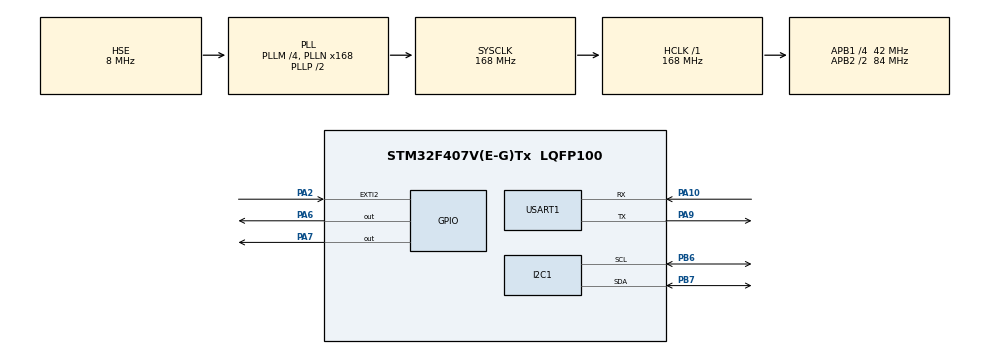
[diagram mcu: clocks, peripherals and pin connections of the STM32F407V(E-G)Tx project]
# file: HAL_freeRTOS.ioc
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FREERTOS.Events01=Event_TOFsync,Dynamic,NULL
FREERTOS.Mutexes01=I2C_Mutex,Dynamic,NULL,Available
FREERTOS.Tasks01=Task_TOF_X,24,128,taskTOF_X,Default,NULL,Dynamic,NULL,NULL;Task_TOF_Y,24,128,taskTOF_Y,Default,NULL,Dynamic,NULL,NULL;Task_TOF_Z,24,256,taskTOF_Z,Default,NULL,Dynamic,NULL,NULL;Task_USART_Prin,40,256,taskUSART_Print,Default,NULL,Dynamic,NULL,NULL;Task_LED_Toggle,8,128,taskLED_Toggle,Default,NULL,Dynamic,NULL,NULL
Mcu.Family=STM32F4
Mcu.Name=STM32F407V(E-G)Tx
Mcu.Package=LQFP100
NVIC.EXTI2_IRQn=true\:6\:0\:true\:false\:true\:true\:true\:true\:true
NVIC.PriorityGroup=NVIC_PRIORITYGROUP_4
NVIC.TIM2_IRQn=true\:5\:0\:true\:false\:true\:true\:true\:true\:true
NVIC.TIM6_DAC_IRQn=true\:0\:0\:true\:false\:true\:false\:false\:true\:true
NVIC.TimeBase=TIM6_DAC_IRQn
NVIC.TimeBaseIP=TIM6
PA10.Mode=Asynchronous
PA10.Signal=USART1_RX
PA13.Mode=Serial_Wire
PA13.Signal=SYS_JTMS-SWDIO
PA14.Mode=Serial_Wire
PA14.Signal=SYS_JTCK-SWCLK
PA2.Signal=GPXTI2
PA6.PinState=GPIO_PIN_SET
PA6.Signal=GPIO_Output
PA7.PinState=GPIO_PIN_SET
PA7.Signal=GPIO_Output
PA9.Mode=Asynchronous
PA9.Signal=USART1_TX
PB6.Mode=I2C
PB6.Signal=I2C1_SCL
PB7.Mode=I2C
PB7.Signal=I2C1_SDA
PH0-OSC_IN.Mode=HSE-External-Oscillator
PH0-OSC_IN.Signal=RCC_OSC_IN
PH1-OSC_OUT.Mode=HSE-External-Oscillator
PH1-OSC_OUT.Signal=RCC_OSC_OUT
ProjectManager.HeapSize=0x200
ProjectManager.StackSize=0x400
ProjectManager.TargetToolchain=MDK-ARM V5.32
RCC.48MHZClocksFreq_Value=84000000
RCC.AHBFreq_Value=168000000
RCC.APB1CLKDivider=RCC_HCLK_DIV4
RCC.APB1Freq_Value=42000000
RCC.APB1TimFreq_Value=84000000
RCC.APB2CLKDivider=RCC_HCLK_DIV2
RCC.APB2Freq_Value=84000000
RCC.APB2TimFreq_Value=168000000
RCC.CortexFreq_Value=168000000
RCC.HCLKFreq_Value=168000000
RCC.HSE_VALUE=8000000
RCC.HSI_VALUE=16000000
RCC.LSE_VALUE=32768
RCC.PLLM=4
RCC.PLLN=168
RCC.PLLSourceVirtual=RCC_PLLSOURCE_HSE
RCC.SYSCLKFreq_VALUE=168000000
RCC.SYSCLKSource=RCC_SYSCLKSOURCE_PLLCLK
RCC.VCOOutputFreq_Value=336000000
TIM2.Period=50-1
TIM2.Prescaler=8400-1
USART1.VirtualMode=VM_ASYNC
VP_FREERTOS_VS_CMSIS_V2.Mode=CMSIS_V2
VP_SYS_VS_tim6.Mode=TIM6
VP_TIM2_VS_ClockSourceINT.Mode=Internal
board=custom

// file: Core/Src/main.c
/* USER CODE BEGIN Header */
/**
  ******************************************************************************
  * @file           : main.c
  * @brief          : Main program body
  ******************************************************************************
  * @attention
  *
  * Copyright (c) 2024 STMicroelectronics.
  * All rights reserved.
  *
  * This software is licensed under terms that can be found in the LICENSE file
  * in the root directory of this software component.
  * If no LICENSE file comes with this software, it is provided AS-IS.
  *
  ******************************************************************************
  */
/* USER CODE END Header */
#include "main.h"
#include "cmsis_os.h"
#include "i2c.h"
#include "tim.h"
#include "usart.h"
#include "gpio.h"

/* USER CODE BEGIN Includes */
#include "position.h"
/* USER CODE END Includes */

void SystemClock_Config(void);
void MX_FREERTOS_Init(void);
/* USER CODE BEGIN PFP */
/***************************************各类函数声明****************************************/

/* USER CODE END PFP */

/* USER CODE BEGIN 0 */
volatile Vector3 V3 = {0, 0, 0};
/* USER CODE END 0 */

int main(void)
{

  /* MCU Configuration--------------------------------------------------------*/

  /* Reset of all peripherals, Initializes the Flash interface and the Systick. */
  HAL_Init();

  /* Configure the system clock */
  SystemClock_Config();

  /* Initialize all configured peripherals */
  MX_GPIO_Init();
  MX_USART1_UART_Init();
  MX_I2C1_Init();
  MX_TIM2_Init();
  /* USER CODE BEGIN 2 */
	delay_init(168);
	XShut_PinInit();

	//相关函数的参数初始化
	LPF2_ParamSet(50, 8);
	Pos_Filter_Init();
	//初始化不同的IIC接口
  	SoftSim_IIC_Init();
	VL53L0X_i2c_init();

	//IMU初始化
	BMI088_InitFunc();
	MPU9250_DMP_InitFunc();
	VL53L0x_InitFunc();

	HAL_TIM_Base_Start_IT(&htim2);	//开启TIM2中断
	exti_GPIO_Init();				//MPU9250外部中断引脚初始化
	printf("ALL Peripheral Initial OK\r\n");

  /* USER CODE END 2 */

  /* Init scheduler */
  osKernelInitialize();

  /* Call init function for freertos objects (in cmsis_os2.c) */
  MX_FREERTOS_Init();

  /* Start scheduler */
  osKernelStart();

  /* We should never get here as control is now taken by the scheduler */

  /* Infinite loop */
	while (1)
	{

	}
}

void SystemClock_Config(void)
{
  RCC_OscInitTypeDef RCC_OscInitStruct = {0};
  RCC_ClkInitTypeDef RCC_ClkInitStruct = {0};

  /** Configure the main internal regulator output voltage
  */
  __HAL_RCC_PWR_CLK_ENABLE();
  __HAL_PWR_VOLTAGESCALING_CONFIG(PWR_REGULATOR_VOLTAGE_SCALE1);

  /** Initializes the RCC Oscillators according to the specified parameters
  * in the RCC_OscInitTypeDef structure.
  */
  RCC_OscInitStruct.OscillatorType = RCC_OSCILLATORTYPE_HSE;
  RCC_OscInitStruct.HSEState = RCC_HSE_ON;
  RCC_OscInitStruct.PLL.PLLState = RCC_PLL_ON;
  RCC_OscInitStruct.PLL.PLLSource = RCC_PLLSOURCE_HSE;
  RCC_OscInitStruct.PLL.PLLM = 4;
  RCC_OscInitStruct.PLL.PLLN = 168;
  RCC_OscInitStruct.PLL.PLLP = RCC_PLLP_DIV2;
  RCC_OscInitStruct.PLL.PLLQ = 4;
  if (HAL_RCC_OscConfig(&RCC_OscInitStruct) != HAL_OK)
  {
    Error_Handler();
  }

  /** Initializes the CPU, AHB and APB buses clocks
  */
  RCC_ClkInitStruct.ClockType = RCC_CLOCKTYPE_HCLK|RCC_CLOCKTYPE_SYSCLK
                              |RCC_CLOCKTYPE_PCLK1|RCC_CLOCKTYPE_PCLK2;
  RCC_ClkInitStruct.SYSCLKSource = RCC_SYSCLKSOURCE_PLLCLK;
  RCC_ClkInitStruct.AHBCLKDivider = RCC_SYSCLK_DIV1;
  RCC_ClkInitStruct.APB1CLKDivider = RCC_HCLK_DIV4;
  RCC_ClkInitStruct.APB2CLKDivider = RCC_HCLK_DIV2;

  if (HAL_RCC_ClockConfig(&RCC_ClkInitStruct, FLASH_LATENCY_5) != HAL_OK)
  {
    Error_Handler();
  }
}

/* USER CODE BEGIN 4 */

void HAL_GPIO_EXTI_Callback(uint16_t GPIO_Pin)
{
	static int exti_count = 0;
	if(GPIO_Pin == GPIO_PIN_2)
	{
		exti_count++;
		mpu_mpl_get_data(&Pitch_9AX,&Roll_9AX,&Yaw_9AX);
		if(exti_count >= 10)
		{
			printf("9Axis:%.2f,%.2f,%.2f\r\n",Pitch_9AX,Roll_9AX,Yaw_9AX);
			exti_count = 0;
		}
	}
}

/* USER CODE END 4 */

void HAL_TIM_PeriodElapsedCallback(TIM_HandleTypeDef *htim)
{
  /* USER CODE BEGIN Callback 0 */
	static int count_delay = 0;
	static int count = 0;
	static int count_prirnt = 0;

	#ifdef POSITION_CALC
		static float gyro_bias_z;
		static double gyro_ave_bias_z;
		static int count1;
		static char Yaw_turn = 0;
	#endif

	if(htim == &htim2)		//5ms定时中断
	{
		//等待一段时间，让陀螺仪数据稳定
		if(count_delay < 1000)
		{
			count_delay++;
			return;
		}

		//读取加速度计数据
		bmi08a_get_data(&user_accel_bmi088, &dev);

		//对加速度计数据进行窗口滤波
		ACC_XYZ_Window_Filter(&user_accel_bmi088);

		V3.x = user_accel_bmi088.x*A;
		V3.y = user_accel_bmi088.y*A;
		V3.z = user_accel_bmi088.z*A;

		//读取陀螺仪数据
		bmi08g_get_data(&user_gyro_bmi088, &dev);
		gyro_x = user_gyro_bmi088.x*B;
		gyro_y = user_gyro_bmi088.y*B;
		gyro_z = user_gyro_bmi088.z*B;

		#ifdef POSITION_CALC
			gyro_z1 = (double)gyro_z * R2D;

			//对陀螺仪z轴数据进行窗口滤波
			gyro_z1 = Single_Window_Filter(gyro_z1);

			//对陀螺仪数据进行二阶低通滤波
			gyro_z1 = LPF2_Calculate(gyro_z1);

			//对陀螺仪z轴数据进行零偏消除
			if(fabs(gyro_z1) < THRESHOLD)
			{
				count1++;
				gyro_bias_z += gyro_z1;
				if(count1 > 5)
				{
					gyro_ave_bias_z = gyro_bias_z/5;
					count1 = 0;
					gyro_bias_z = 0;
				}
				//gyro_z1 -= gyro_ave_bias_z*0.835;
			}
			gyro_z1 -= gyro_ave_bias_z*0.835;

			//去除零偏之后积分出角度
			Yaw += (double)gyro_z1*0.005;
			//将角度限制在±180度之间
			if(Yaw > 180)
			{
				Yaw -= 360;
				Yaw_turn++;	//可以记录转过的圈数
			}
			else if(Yaw < -180)
			{
				Yaw += 360;
				Yaw_turn--;
			}
		#endif
		count_prirnt++;
		count++;

		if(count_prirnt >= 20)	//100ms
		{
			printf("6Axis:%f,%f,%f\r\n",-Pitch,Roll,Yaw);
			count_prirnt = 0;
		}

		if(count == 100)		//500ms
		{
			LED0 = !LED0;
			count = 0;
		}
	}
  /* USER CODE END Callback 0 */
  if (htim->Instance == TIM6) {
    HAL_IncTick();
  }
}

void Error_Handler(void)
{
  __disable_irq();
  while (1)
  {
  }
}

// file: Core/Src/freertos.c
/* USER CODE BEGIN Header */
/**
  ******************************************************************************
  * File Name          : freertos.c
  * Description        : Code for freertos applications
  ******************************************************************************
  * @attention
  *
  * Copyright (c) 2024 STMicroelectronics.
  * All rights reserved.
  *
  * This software is licensed under terms that can be found in the LICENSE file
  * in the root directory of this software component.
  * If no LICENSE file comes with this software, it is provided AS-IS.
  *
  ******************************************************************************
  */
/* USER CODE END Header */

#include "FreeRTOS.h"
#include "task.h"
#include "main.h"
#include "cmsis_os.h"

/* USER CODE BEGIN Includes */
#include "semphr.h"
#include "position.h"
#include "event_groups.h"
#include "sensor.h"
/* USER CODE END Includes */

/* USER CODE BEGIN PD */

#define BITMASK_TOF_X		(0x01)
#define BITMASK_TOF_Y		(0x02)
#define BITMASK_TOF_Z		(0x04)

#define BITMASK_TOF_OR		(BITMASK_TOF_X|BITMASK_TOF_Y|BITMASK_TOF_Z)
/* USER CODE END PD */

/* Definitions for Task_TOF_X */
osThreadId_t Task_TOF_XHandle;
const osThreadAttr_t Task_TOF_X_attributes = {
  .name = "Task_TOF_X",
  .stack_size = 128 * 4,
  .priority = (osPriority_t) osPriorityNormal,
};
/* Definitions for Task_TOF_Y */
osThreadId_t Task_TOF_YHandle;
const osThreadAttr_t Task_TOF_Y_attributes = {
  .name = "Task_TOF_Y",
  .stack_size = 128 * 4,
  .priority = (osPriority_t) osPriorityNormal,
};
/* Definitions for Task_TOF_Z */
osThreadId_t Task_TOF_ZHandle;
const osThreadAttr_t Task_TOF_Z_attributes = {
  .name = "Task_TOF_Z",
  .stack_size = 256 * 4,
  .priority = (osPriority_t) osPriorityNormal,
};
/* Definitions for Task_USART_Prin */
osThreadId_t Task_USART_PrinHandle;
const osThreadAttr_t Task_USART_Prin_attributes = {
  .name = "Task_USART_Prin",
  .stack_size = 256 * 4,
  .priority = (osPriority_t) osPriorityHigh,
};
/* Definitions for Task_LED_Toggle */
osThreadId_t Task_LED_ToggleHandle;
const osThreadAttr_t Task_LED_Toggle_attributes = {
  .name = "Task_LED_Toggle",
  .stack_size = 128 * 4,
  .priority = (osPriority_t) osPriorityLow,
};
/* Definitions for I2C_Mutex */
osMutexId_t I2C_MutexHandle;
const osMutexAttr_t I2C_Mutex_attributes = {
  .name = "I2C_Mutex"
};
/* Definitions for Event_TOFsync */
osEventFlagsId_t Event_TOFsyncHandle;
const osEventFlagsAttr_t Event_TOFsync_attributes = {
  .name = "Event_TOFsync"
};

void taskTOF_X(void *argument);
void taskTOF_Y(void *argument);
void taskTOF_Z(void *argument);
void taskUSART_Print(void *argument);
void taskLED_Toggle(void *argument);

void MX_FREERTOS_Init(void); /* (MISRA C 2004 rule 8.1) */

void MX_FREERTOS_Init(void) {
  /* Create the mutex(es) */
  /* creation of I2C_Mutex */
  I2C_MutexHandle = osMutexNew(&I2C_Mutex_attributes);

  /* Create the thread(s) */
  /* creation of Task_TOF_X */
  Task_TOF_XHandle = osThreadNew(taskTOF_X, NULL, &Task_TOF_X_attributes);

  /* creation of Task_TOF_Y */
  Task_TOF_YHandle = osThreadNew(taskTOF_Y, NULL, &Task_TOF_Y_attributes);

  /* creation of Task_TOF_Z */
  Task_TOF_ZHandle = osThreadNew(taskTOF_Z, NULL, &Task_TOF_Z_attributes);

  /* creation of Task_USART_Prin */
  Task_USART_PrinHandle = osThreadNew(taskUSART_Print, NULL, &Task_USART_Prin_attributes);

  /* creation of Task_LED_Toggle */
  Task_LED_ToggleHandle = osThreadNew(taskLED_Toggle, NULL, &Task_LED_Toggle_attributes);

  /* creation of Event_TOFsync */
  Event_TOFsyncHandle = osEventFlagsNew(&Event_TOFsync_attributes);

}

void taskTOF_X(void *argument)
{
  /* USER CODE BEGIN taskTOF_X */
	VL53L0X_Error status = 0;
	char buf[VL53L0X_MAX_STRING_LENGTH];//测试模式字符串字符缓冲区
	/* Infinite loop */
	while(1)
	{
		if(xSemaphoreTake(I2C_MutexHandle,pdMS_TO_TICKS(50)) == pdTRUE)
		{
			//Dis_Filter_Window(&Distance_data[Axis_X],Axis_X);
			status = vl53l0x_start_single_test(&vl53l0x_dev[Axis_X],Axis_X,&vl53l0x_data[Axis_X],buf);
			if(status != VL53L0X_ERROR_NONE)
			{
				xEventGroupSetBits(Event_TOFsyncHandle,BITMASK_TOF_X);
				printf("Axis_X Status: %d\r\n",status);
			}
			xSemaphoreGive(I2C_MutexHandle);
		}
		else// 超时的处理代码
		{
			printf("Axis_X Failed to obtain I2C BUS\r\n");
		}
		osDelay(pdMS_TO_TICKS(33));
	}
  /* USER CODE END taskTOF_X */
}

void taskTOF_Y(void *argument)
{
  /* USER CODE BEGIN taskTOF_Y */
	VL53L0X_Error status = 0;
	char buf[VL53L0X_MAX_STRING_LENGTH];//测试模式字符串字符缓冲区
	/* Infinite loop */
	while(1)
	{
		if(xSemaphoreTake(I2C_MutexHandle,pdMS_TO_TICKS(50)) == pdTRUE)
		{
			//Dis_Filter_Window(&Distance_data[Axis_Y],Axis_Y);
			status = vl53l0x_start_single_test(&vl53l0x_dev[Axis_Y],Axis_Y,&vl53l0x_data[Axis_Y],buf);

			if(status != VL53L0X_ERROR_NONE)
			{
				xEventGroupSetBits(Event_TOFsyncHandle,BITMASK_TOF_Y);
				printf("Axis_Y Status: %d\r\n",status);
			}
			xSemaphoreGive(I2C_MutexHandle);
		}
		else// 超时的处理代码
		{
			printf("Axis_Y Failed to obtain I2C BUS\r\n");
		}
		osDelay(pdMS_TO_TICKS(33));
	}
  /* USER CODE END taskTOF_Y */
}

void taskTOF_Z(void *argument)
{
  /* USER CODE BEGIN taskTOF_Z */
	VL53L0X_Error status = 0;
	char buf[VL53L0X_MAX_STRING_LENGTH];//测试模式字符串字符缓冲区

	/* Infinite loop */
	while(1)
	{
		if(xSemaphoreTake(I2C_MutexHandle,pdMS_TO_TICKS(50)) == pdTRUE)
		{
			//Dis_Filter_Window(&Distance_data[Axis_Z],Axis_Z);
			status = vl53l0x_start_single_test(&vl53l0x_dev[Axis_Z],Axis_Z,&vl53l0x_data[Axis_Z],buf);

			if(status != VL53L0X_ERROR_NONE)
			{
				xEventGroupSetBits(Event_TOFsyncHandle,BITMASK_TOF_Z);
				printf("Axis_Z Status: %d\r\n",status);
			}
			xSemaphoreGive(I2C_MutexHandle);
		}
		else// 超时的处理代码
		{
			printf("Axis_Z Failed to obtain I2C BUS\r\n");
		}
		osDelay(pdMS_TO_TICKS(33));
	}
  /* USER CODE END taskTOF_Z */
}

void taskUSART_Print(void *argument)
{
  /* USER CODE BEGIN taskUSART_Print */
//	TaskStatus_t pxTaskInfo;
//	char pcWriteBuffer[256];
	/* Infinite loop */
//	vTaskList(pcWriteBuffer);
//	printf("/*******************KernalInfo******************/\r\n");
//	printf("%s\r\n",pcWriteBuffer);
//	printf("/*******************KernalInfo******************/\r\n");
	while(1)
	{
//		vTaskGetInfo(Task_TOF_ZHandle, &pxTaskInfo, pdTRUE, eInvalid);
//		taskENTER_CRITICAL();//进入临界区

//		printf("/*******************TaskGetInfo******************/\r\n");
//		printf("NumberOfTasks:%d\r\n",(int)uxTaskGetNumberOfTasks());
//		printf("TaskName:%s\r\n",pxTaskInfo.pcTaskName);
//		printf("State: %d\r\n",(int)pxTaskInfo.eCurrentState);
//		printf("Priority:%d\r\n",(int)pxTaskInfo.uxCurrentPriority);
//		printf("HighWaterMark:%d\r\n",pxTaskInfo.usStackHighWaterMark);
//		printf("/*******************TaskGetInfo******************/\r\n");
//		taskEXIT_CRITICAL(); /* 退出临界区*/

		taskENTER_CRITICAL();//进入临界区

		Pos_Estimate(gyro_x, gyro_y, gyro_z, V3.x, V3.y, V3.z);	//位置估计 + BMI088角度解算

		taskEXIT_CRITICAL(); /* 退出临界区*/

		xEventGroupWaitBits(Event_TOFsyncHandle,BITMASK_TOF_OR,pdTRUE,pdTRUE,pdMS_TO_TICKS(50));
		Dis_Filter_Window(Distance_data);
		printf("Dis:%d,%d,%d\r\n",Distance_data[Axis_X],Distance_data[Axis_Y],Distance_data[Axis_Z]);
//		osDelay(100);
	}
  /* USER CODE END taskUSART_Print */
}

void taskLED_Toggle(void *argument)
{
  /* USER CODE BEGIN taskLED_Toggle */
  /* Infinite loop */
  while(1)
  {
	LED0 =! LED0;
    osDelay(pdMS_TO_TICKS(500));
  }
  /* USER CODE END taskLED_Toggle */
}
